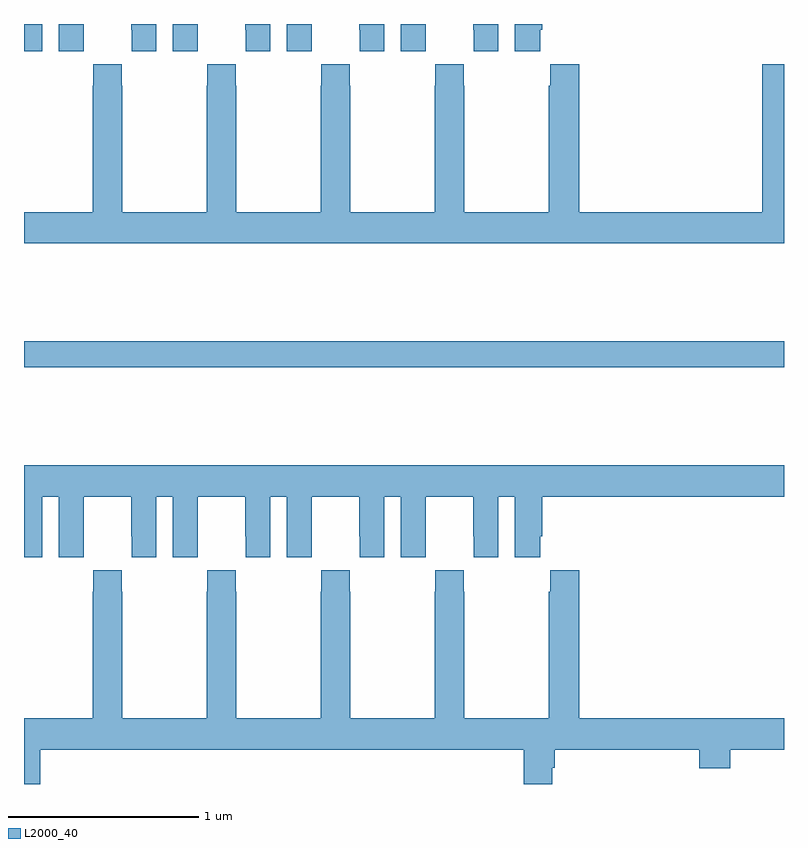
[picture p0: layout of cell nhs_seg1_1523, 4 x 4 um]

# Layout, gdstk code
import gdstk
lib = gdstk.Library(unit=1e-6, precision=1e-09)
def R(c, l, rs):  # rectangles x0, y0, x1, y1
    for r in rs: c.add(gdstk.rectangle(r[:2], r[2:], *l))
def P(c, l, *ps):  # polygons
    for p in ps: c.add(gdstk.Polygon(p, *l))
L2000_40 = (2000, 40)

nhs_seg1_1523 = lib.new_cell('nhs_seg1_1523')
R(nhs_seg1_1523, L2000_40, [(193,572.392,197,572.528), (193,574.056,193.096,574.199)])
P(nhs_seg1_1523, L2000_40, [(195.718,574.168),(195.728,574.168),(195.728,574.199),(195.584,574.199),(195.584,574.056),(195.718,574.056)],
  [(193.314,574.168),(193.315,574.168),(193.315,574.199),(193.184,574.199),(193.184,574.056),(193.314,574.056)],
  [(193.696,574.199),(193.565,574.199),(193.565,574.168),(193.566,574.168),(193.566,574.056),(193.696,574.056)],
  [(193.914,574.168),(193.915,574.168),(193.915,574.199),(193.784,574.199),(193.784,574.056),(193.914,574.056)],
  [(194.296,574.199),(194.165,574.199),(194.165,574.168),(194.166,574.168),(194.166,574.056),(194.296,574.056)],
  [(194.514,574.168),(194.515,574.168),(194.515,574.199),(194.384,574.199),(194.384,574.056),(194.514,574.056)],
  [(194.896,574.199),(194.765,574.199),(194.765,574.168),(194.766,574.168),(194.766,574.056),(194.896,574.056)],
  [(195.114,574.168),(195.115,574.168),(195.115,574.199),(194.984,574.199),(194.984,574.056),(195.114,574.056)],
  [(195.496,574.199),(195.365,574.199),(195.365,574.168),(195.366,574.168),(195.366,574.056),(195.496,574.056)],
  [(197,573.988),(196.886,573.988),(196.886,573.208),(195.923,573.208),(195.923,573.988),(195.769,573.988),(195.769,573.875),(195.763,573.875),(195.763,573.208),(195.318,573.208),(195.318,573.875),(195.315,573.875),(195.315,573.988),(195.165,573.988),(195.165,573.875),(195.163,573.875),(195.163,573.208),(194.718,573.208),(194.718,573.875),(194.715,573.875),(194.715,573.988),(194.565,573.988),(194.565,573.875),(194.563,573.875),(194.563,573.208),(194.118,573.208),(194.118,573.875),(194.115,573.875),(194.115,573.988),(193.965,573.988),(193.965,573.875),(193.963,573.875),(193.963,573.208),(193.518,573.208),(193.518,573.875),(193.515,573.875),(193.515,573.988),(193.365,573.988),(193.365,573.875),(193.363,573.875),(193.363,573.208),(193,573.208),(193,573.044),(197,573.044)],
  [(193.096,571.712),(193.184,571.712),(193.184,571.392),(193.314,571.392),(193.314,571.504),(193.315,571.504),(193.315,571.712),(193.565,571.712),(193.565,571.504),(193.566,571.504),(193.566,571.392),(193.696,571.392),(193.696,571.712),(193.784,571.712),(193.784,571.392),(193.914,571.392),(193.914,571.504),(193.915,571.504),(193.915,571.712),(194.165,571.712),(194.165,571.504),(194.166,571.504),(194.166,571.392),(194.296,571.392),(194.296,571.712),(194.384,571.712),(194.384,571.392),(194.514,571.392),(194.514,571.504),(194.515,571.504),(194.515,571.712),(194.765,571.712),(194.765,571.504),(194.766,571.504),(194.766,571.392),(194.896,571.392),(194.896,571.712),(194.984,571.712),(194.984,571.392),(195.114,571.392),(195.114,571.504),(195.115,571.504),(195.115,571.712),(195.365,571.712),(195.365,571.504),(195.366,571.504),(195.366,571.392),(195.496,571.392),(195.496,571.712),(195.584,571.712),(195.584,571.392),(195.718,571.392),(195.718,571.504),(195.728,571.504),(195.728,571.712),(197,571.712),(197,571.876),(193,571.876),(193,571.392),(193.096,571.392)],
  [(195.923,571.324),(195.769,571.324),(195.769,571.211),(195.763,571.211),(195.763,570.544),(195.318,570.544),(195.318,571.211),(195.315,571.211),(195.315,571.324),(195.165,571.324),(195.165,571.211),(195.163,571.211),(195.163,570.544),(194.718,570.544),(194.718,571.211),(194.715,571.211),(194.715,571.324),(194.565,571.324),(194.565,571.211),(194.563,571.211),(194.563,570.544),(194.118,570.544),(194.118,571.211),(194.115,571.211),(194.115,571.324),(193.965,571.324),(193.965,571.211),(193.963,571.211),(193.963,570.544),(193.518,570.544),(193.518,571.211),(193.515,571.211),(193.515,571.324),(193.365,571.324),(193.365,571.211),(193.363,571.211),(193.363,570.544),(193,570.544),(193,570.199),(193.085,570.199),(193.085,570.38),(195.629,570.38),(195.629,570.199),(195.781,570.199),(195.781,570.284),(195.794,570.284),(195.794,570.38),(196.553,570.38),(196.553,570.281),(196.718,570.281),(196.718,570.38),(197,570.38),(197,570.544),(195.923,570.544)])

lib.write_gds('nhs_seg1_1523.gds')
